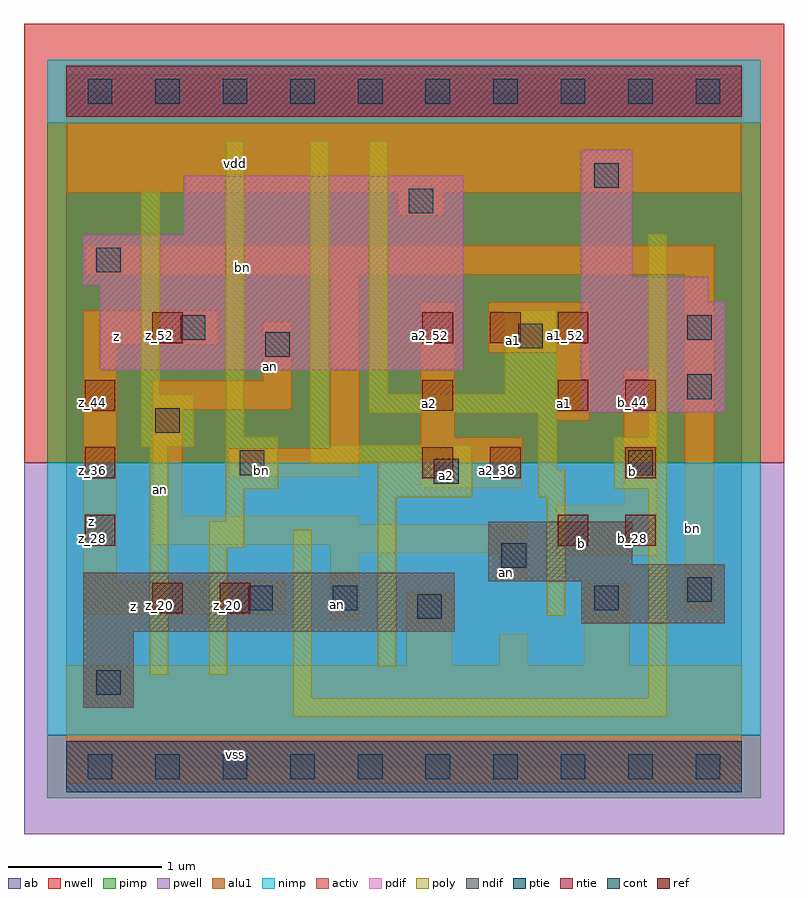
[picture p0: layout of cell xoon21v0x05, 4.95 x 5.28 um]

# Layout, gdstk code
import gdstk
lib = gdstk.Library(unit=1e-6, precision=2.5e-09)
def R(c, l, rs):  # rectangles x0, y0, x1, y1
    for r in rs: c.add(gdstk.rectangle(r[:2], r[2:], *l))
def A(c, l, x, y, w, h, nx, ny, dx, dy):  # array of equal rectangles
    R(c, l, [(x+i*dx, y+j*dy, x+i*dx+w, y+j*dy+h) for i in range(nx) for j in range(ny)])
ndif = (3, 0)
pdif = (4, 0)
ntie = (5, 0)
ptie = (6, 0)
ref = (24, 0)
cont = (25, 0)
pwell = (41, 0)
nwell = (42, 0)
activ = (43, 0)
pimp = (44, 0)
nimp = (45, 0)
poly = (46, 0)
alu1 = (49, 0)
ab = (63, 0)

xoon21v0x05 = lib.new_cell('xoon21v0x05')
R(xoon21v0x05, ndif, [(0.11,0.385,0.44,0.88), (0.11,0.88,2.53,1.265), (3.355,0.935,4.29,1.21), (2.75,1.21,4.29,1.32), (2.75,1.32,3.685,1.595)])
R(xoon21v0x05, pdif, [(3.355,2.31,4.29,3.025), (0.22,2.585,2.585,3.135), (3.355,3.025,4.18,3.19), (0.11,3.135,2.585,3.465), (3.355,3.19,3.685,4.015), (0.77,3.465,2.585,3.85)])
R(xoon21v0x05, ntie, [(0,4.235,4.4,4.565)])
R(xoon21v0x05, ptie, [(0,-0.165,4.4,0.165)])
A(xoon21v0x05, ref, 0.12, 1.44, 0.2, 0.2, 1, 3, 0, 0.44)
A(xoon21v0x05, ref, 3.64, 1.44, 0.2, 0.2, 1, 3, 0, 0.44)
A(xoon21v0x05, ref, 2.32, 2.76, 0.2, 0.2, 3, 1, 0.44, 0)
R(xoon21v0x05, ref, [(0.56,1,0.76,1.2), (1,1,1.2,1.2), (3.2,1.44,3.4,1.64), (2.32,1.88,2.52,2.08), (2.76,1.88,2.96,2.08), (2.32,2.32,2.52,2.52), (3.2,2.32,3.4,2.52), (0.56,2.76,0.76,2.96)])
A(xoon21v0x05, cont, 0.14, -0.08, 0.16, 0.16, 10, 2, 0.44, 4.4)
R(xoon21v0x05, cont, [(0.195,0.47,0.355,0.63), (2.285,0.965,2.445,1.125), (1.185,1.02,1.345,1.18), (1.735,1.02,1.895,1.18), (3.44,1.02,3.6,1.18), (4.045,1.075,4.205,1.235), (2.835,1.295,2.995,1.455), (2.395,1.845,2.555,2.005), (1.13,1.9,1.29,2.06), (3.66,1.9,3.82,2.06), (0.58,2.175,0.74,2.335), (4.045,2.395,4.205,2.555), (1.295,2.67,1.455,2.83), (2.945,2.725,3.105,2.885), (0.745,2.78,0.905,2.94), (4.045,2.78,4.205,2.94), (0.195,3.22,0.355,3.38), (2.23,3.605,2.39,3.765), (3.44,3.77,3.6,3.93)])
R(xoon21v0x05, pwell, [(-0.275,-0.44,4.675,1.98)])
R(xoon21v0x05, nwell, [(-0.275,1.98,4.675,4.84)])
R(xoon21v0x05, activ, [(0,-0.165,4.4,0.165), (0.11,0.385,0.44,0.88), (0.11,0.88,2.53,1.265), (3.355,0.935,4.29,1.21), (2.75,1.21,4.29,1.32), (2.75,1.32,3.685,1.595), (3.355,2.31,4.29,3.025), (0.22,2.585,2.585,3.135), (3.355,3.025,4.18,3.19), (0.11,3.135,2.585,3.465), (3.355,3.19,3.685,4.015), (0.77,3.465,2.585,3.85), (0,4.235,4.4,4.565)])
R(xoon21v0x05, pimp, [(-0.125,-0.205,4.525,0.205), (-0.125,1.98,4.525,4.195)])
R(xoon21v0x05, nimp, [(-0.125,0.205,4.525,1.98), (-0.125,4.195,4.525,4.605)])
R(xoon21v0x05, poly, [(1.48,0.325,3.91,0.445), (1.48,0.445,1.6,1.545), (3.79,0.445,3.91,1.81), (0.545,0.6,0.665,2.085), (0.93,0.6,1.05,1.425), (2.03,0.655,2.15,1.755), (3.13,0.985,3.25,1.755), (0.93,1.425,1.16,1.6), (1.04,1.6,1.16,1.81), (2.03,1.755,2.645,1.975), (3.075,1.755,3.25,1.93), (1.04,1.81,1.38,2.15), (3.57,1.81,3.91,2.15), (3.075,1.93,3.195,2.305), (1.59,1.975,2.645,2.095), (0.49,2.085,0.83,2.425), (1.59,2.095,1.71,4.075), (1.04,2.15,1.16,4.075), (3.79,2.15,3.91,3.47), (1.975,2.305,3.195,2.425), (0.49,2.425,0.61,3.745), (1.975,2.425,2.095,4.075), (2.855,2.425,3.195,2.975)])
R(xoon21v0x05, alu1, [(0,-0.11,4.4,0.66), (2.215,0.66,2.515,1.14), (2.82,0.66,3.01,0.865), (3.37,0.66,3.67,1.195), (1.72,0.95,1.91,1.39), (0.11,0.99,1.43,1.21), (4.03,1.005,4.22,3.205), (0.11,1.21,0.33,2.75), (2.82,1.225,3.01,1.39), (3.19,1.375,3.85,1.705), (1.72,1.39,3.01,1.445), (0.565,1.445,3.01,1.58), (0.565,1.58,1.91,1.635), (0.565,1.635,0.755,2.325), (3.63,1.705,3.85,2.585), (2.31,1.815,2.97,2.145), (1.06,1.885,1.91,2.075), (1.72,2.075,1.91,3.205), (2.31,2.145,2.53,3.025), (3.19,2.255,3.41,2.695), (0.565,2.325,1.47,2.515), (1.28,2.515,1.47,2.9), (2.75,2.695,3.41,3.025), (0.11,2.75,0.99,2.97), (0.125,3.205,4.22,3.395), (2.16,3.59,2.46,3.74), (0,3.74,4.4,4.51)])
R(xoon21v0x05, ab, [(0,0,4.4,4.4)])
xoon21v0x05.add(gdstk.Label('vss', (1.1,0.0825), layer=49, texttype=0))
xoon21v0x05.add(gdstk.Label('bn', (4.0775,1.555), layer=49, texttype=0))
xoon21v0x05.add(gdstk.Label('b', (3.355,1.4575), layer=49, texttype=0))
xoon21v0x05.add(gdstk.Label('an', (2.8675,1.265), layer=49, texttype=0))
xoon21v0x05.add(gdstk.Label('an', (1.7675,1.06), layer=49, texttype=0))
xoon21v0x05.add(gdstk.Label('z', (0.44,1.045), layer=49, texttype=0))
xoon21v0x05.add(gdstk.Label('b', (3.685,1.925), layer=49, texttype=0))
xoon21v0x05.add(gdstk.Label('a2', (2.475,1.8975), layer=49, texttype=0))
xoon21v0x05.add(gdstk.Label('a1', (3.245,2.365), layer=49, texttype=0))
xoon21v0x05.add(gdstk.Label('a1', (2.915,2.7775), layer=49, texttype=0))
xoon21v0x05.add(gdstk.Label('a2', (2.365,2.365), layer=49, texttype=0))
xoon21v0x05.add(gdstk.Label('bn', (1.2725,1.9325), layer=49, texttype=0))
xoon21v0x05.add(gdstk.Label('an', (0.6125,1.8075), layer=49, texttype=0))
xoon21v0x05.add(gdstk.Label('an', (1.3275,2.61), layer=49, texttype=0))
xoon21v0x05.add(gdstk.Label('z', (0.165,1.595), layer=49, texttype=0))
xoon21v0x05.add(gdstk.Label('z', (0.33,2.805), layer=49, texttype=0))
xoon21v0x05.add(gdstk.Label('bn', (1.1475,3.2525), layer=49, texttype=0))
xoon21v0x05.add(gdstk.Label('vdd', (1.1,3.9325), layer=49, texttype=0))
xoon21v0x05.add(gdstk.Label('z_20', (0.61,1.05), layer=24, texttype=0))
xoon21v0x05.add(gdstk.Label('z_52', (0.61,2.81), layer=24, texttype=0))
xoon21v0x05.add(gdstk.Label('z_20', (1.05,1.05), layer=24, texttype=0))
xoon21v0x05.add(gdstk.Label('z_28', (0.17,1.49), layer=24, texttype=0))
xoon21v0x05.add(gdstk.Label('z_36', (0.17,1.93), layer=24, texttype=0))
xoon21v0x05.add(gdstk.Label('z_44', (0.17,2.37), layer=24, texttype=0))
xoon21v0x05.add(gdstk.Label('a2_36', (2.37,1.93), layer=24, texttype=0))
xoon21v0x05.add(gdstk.Label('a2_44', (2.37,2.37), layer=24, texttype=0))
xoon21v0x05.add(gdstk.Label('a2_52', (2.37,2.81), layer=24, texttype=0))
xoon21v0x05.add(gdstk.Label('a2_36', (2.81,1.93), layer=24, texttype=0))
xoon21v0x05.add(gdstk.Label('a1_52', (2.81,2.81), layer=24, texttype=0))
xoon21v0x05.add(gdstk.Label('b_28', (3.25,1.49), layer=24, texttype=0))
xoon21v0x05.add(gdstk.Label('a1_44', (3.25,2.37), layer=24, texttype=0))
xoon21v0x05.add(gdstk.Label('a1_52', (3.25,2.81), layer=24, texttype=0))
xoon21v0x05.add(gdstk.Label('b_28', (3.69,1.49), layer=24, texttype=0))
xoon21v0x05.add(gdstk.Label('b_36', (3.69,1.93), layer=24, texttype=0))
xoon21v0x05.add(gdstk.Label('b_44', (3.69,2.37), layer=24, texttype=0))

lib.write_gds('xoon21v0x05.gds')
